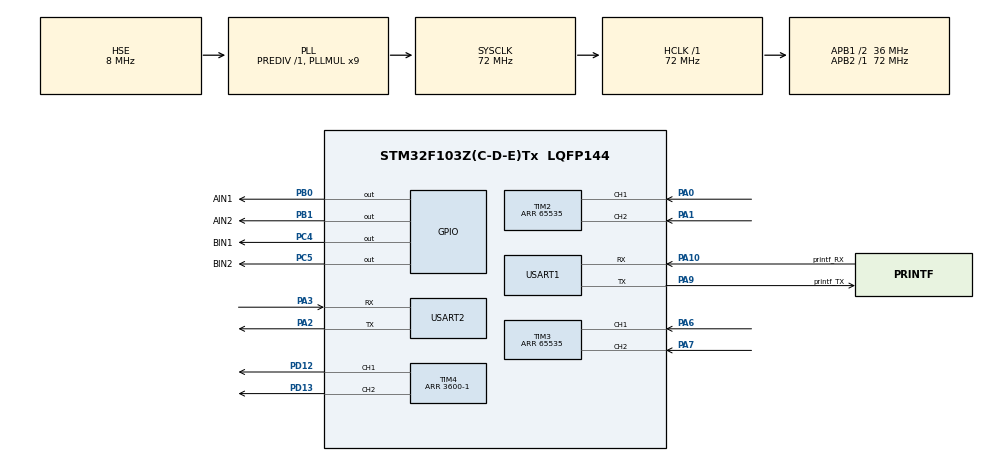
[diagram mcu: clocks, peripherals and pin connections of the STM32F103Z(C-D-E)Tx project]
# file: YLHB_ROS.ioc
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Mcu.Family=STM32F1
Mcu.Name=STM32F103Z(C-D-E)Tx
Mcu.Package=LQFP144
NVIC.PriorityGroup=NVIC_PRIORITYGROUP_4
NVIC.TIM1_UP_IRQn=true\:0\:0\:false\:false\:true\:true\:true\:true
NVIC.USART2_IRQn=true\:0\:0\:false\:false\:true\:true\:true\:true
OSC_IN.Mode=HSE-External-Oscillator
OSC_IN.Signal=RCC_OSC_IN
OSC_OUT.Mode=HSE-External-Oscillator
OSC_OUT.Signal=RCC_OSC_OUT
PA0-WKUP.GPIO_PuPd=GPIO_PULLUP
PA0-WKUP.Signal=S_TIM2_CH1_ETR
PA1.GPIO_PuPd=GPIO_PULLUP
PA1.Signal=S_TIM2_CH2
PA10.GPIO_Label=printf_RX
PA10.Mode=Asynchronous
PA10.Signal=USART1_RX
PA13.Mode=Serial_Wire
PA13.Signal=SYS_JTMS-SWDIO
PA14.Mode=Serial_Wire
PA14.Signal=SYS_JTCK-SWCLK
PA2.Mode=Asynchronous
PA2.Signal=USART2_TX
PA3.Mode=Asynchronous
PA3.Signal=USART2_RX
PA6.GPIO_PuPd=GPIO_PULLUP
PA6.Signal=S_TIM3_CH1
PA7.GPIO_PuPd=GPIO_PULLUP
PA7.Signal=S_TIM3_CH2
PA9.GPIO_Label=printf_TX
PA9.Mode=Asynchronous
PA9.Signal=USART1_TX
PB0.GPIO_Label=AIN1
PB0.GPIO_Speed=GPIO_SPEED_FREQ_HIGH
PB0.PinState=GPIO_PIN_SET
PB0.Signal=GPIO_Output
PB1.GPIO_Label=AIN2
PB1.GPIO_Speed=GPIO_SPEED_FREQ_HIGH
PB1.PinState=GPIO_PIN_SET
PB1.Signal=GPIO_Output
PC4.GPIO_Label=BIN1
PC4.GPIO_Speed=GPIO_SPEED_FREQ_HIGH
PC4.PinState=GPIO_PIN_SET
PC4.Signal=GPIO_Output
PC5.GPIO_Label=BIN2
PC5.GPIO_Speed=GPIO_SPEED_FREQ_HIGH
PC5.PinState=GPIO_PIN_SET
PC5.Signal=GPIO_Output
PD12.Signal=S_TIM4_CH1
PD13.Signal=S_TIM4_CH2
ProjectManager.HeapSize=0x200
ProjectManager.StackSize=0x400
ProjectManager.TargetToolchain=MDK-ARM V5.32
RCC.AHBFreq_Value=72000000
RCC.APB1CLKDivider=RCC_HCLK_DIV2
RCC.APB1Freq_Value=36000000
RCC.APB1TimFreq_Value=72000000
RCC.APB2Freq_Value=72000000
RCC.APB2TimFreq_Value=72000000
RCC.HCLKFreq_Value=72000000
RCC.PLLMUL=RCC_PLL_MUL9
RCC.PLLSourceVirtual=RCC_PLLSOURCE_HSE
RCC.SYSCLKFreq_VALUE=72000000
RCC.SYSCLKSource=RCC_SYSCLKSOURCE_PLLCLK
RCC.USBFreq_Value=72000000
SH.S_TIM2_CH1_ETR.0=TIM2_CH1,Encoder_Interface
SH.S_TIM2_CH2.0=TIM2_CH2,Encoder_Interface
SH.S_TIM3_CH1.0=TIM3_CH1,Encoder_Interface
SH.S_TIM3_CH2.0=TIM3_CH2,Encoder_Interface
SH.S_TIM4_CH1.0=TIM4_CH1,PWM Generation1 CH1
SH.S_TIM4_CH2.0=TIM4_CH2,PWM Generation2 CH2
TIM1.Period=1000-1
TIM1.Prescaler=72-1
TIM2.EncoderMode=TIM_ENCODERMODE_TI12
TIM2.Period=65535
TIM3.EncoderMode=TIM_ENCODERMODE_TI12
TIM3.Period=65535
TIM4.Channel-PWM\ Generation1\ CH1=TIM_CHANNEL_1
TIM4.Channel-PWM\ Generation2\ CH2=TIM_CHANNEL_2
TIM4.Period=3600-1
USART1.VirtualMode=VM_ASYNC
USART2.VirtualMode=VM_ASYNC
VP_TIM1_VS_ClockSourceINT.Mode=Internal
board=custom

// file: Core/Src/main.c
/* USER CODE BEGIN Header */
/**
  ******************************************************************************
  * @file           : main.c
  * @brief          : Main program body
  ******************************************************************************
  * @attention
  *
  * Copyright (c) 2026 STMicroelectronics.
  * All rights reserved.
  *
  * This software is licensed under terms that can be found in the LICENSE file
  * in the root directory of this software component.
  * If no LICENSE file comes with this software, it is provided AS-IS.
  *
  ******************************************************************************
  */
/* USER CODE END Header */
#include "main.h"
#include "tim.h"
#include "usart.h"
#include "gpio.h"

/* USER CODE BEGIN Includes */
#include "motor.h"
#include "bmq.h"
#include "stdio.h"
/* USER CODE END Includes */

/* USER CODE BEGIN PTD */
volatile float Speed_Left = 0;// 左电机当前速度（RPM、转/分钟）
volatile float Speed_Right = 0;// 右电机当前速度（RPM、转/分钟）
volatile float Target_Speed_Left = 0;  // 设定左电机目标速度（RPM、转/分钟）
volatile float Target_Speed_Right = 0; // 设定右电机目标速度（RPM、转/分钟）
volatile int PWM_Left = 0;// 左电机PWM输出值（占空比）
volatile int PWM_Right = 0;// 右电机PWM输出值（占空比）
/* USER CODE END PTD */

/* USER CODE BEGIN PD */
#define UART2_FRAME_LEN              7U // 串口帧长度
#define UART2_FRAME_HEAD1            0xAAU // 串口帧头1
#define UART2_FRAME_HEAD2            0x55U // 串口帧头2
#define WHEEL_DIAMETER_MM            54.0f // 轮子直径（mm）
#define WHEEL_CIRCUMFERENCE_MM       (WHEEL_DIAMETER_MM * 3.1415926f) // 轮子周长（mm）
#define LEFT_SPEED_SIGN              1.0f // 根据电机接线调整正负，确保正值为前进，负值为后退
#define RIGHT_SPEED_SIGN             1.0f // 根据电机接线调整正负，确保正值为前进，负值为后退
#define UART2_SEND_PERIOD_MS         15U // 串口发送周期（ms）
#define REVERSE_RELEASE_RPM          8.0f // 反向前判定已停稳的速度阈值（RPM）
#define REVERSE_FILTER_NEW_RATIO     0.7f // 反向过零时提高瞬时速度占比
#define NORMAL_FILTER_NEW_RATIO      0.3f // 正常状态下一阶滤波瞬时速度占比

/* USER CODE END PD */

/* USER CODE BEGIN PV */
static uint8_t uart2_rx_byte = 0;// 串口接收字节
static uint8_t uart2_rx_buf[UART2_FRAME_LEN] = {0};// 串口接收缓冲区
static uint8_t uart2_rx_index = 0;// 串口接收索引
volatile int16_t uart2_target_left_mm_s = 0;// 设定左电机目标速度（毫米/秒）
volatile int16_t uart2_target_right_mm_s = 0;// 设定右电机目标速度（毫米/秒）
volatile float uart2_target_left_rpm = 0;// 左轮目标转速（RPM），收到串口命令时预先换算好
volatile float uart2_target_right_rpm = 0;// 右轮目标转速（RPM），收到串口命令时预先换算好
volatile int16_t uart2_feedback_left_mm_s = 0;// 左电机反馈速度（毫米/秒）
volatile int16_t uart2_feedback_right_mm_s = 0;// 右电机反馈速度（毫米/秒）
volatile uint8_t uart2_send_flag = 0;// 串口发送标志位
volatile uint8_t left_reverse_brake_flag = 0;// 左轮反向前先刹停标志
volatile uint8_t right_reverse_brake_flag = 0;// 右轮反向前先刹停标志

/* USER CODE END PV */

void SystemClock_Config(void);
/* USER CODE BEGIN PFP */
static uint8_t UART2_CalcChecksum(const uint8_t *buf);// 计算校验和
static float MmpsToRpm(int16_t mm_s);// 毫米/秒转RPM
static int16_t RpmToMmps(float rpm);// RPM转毫米/秒
static float AbsFloat(float value);// 取绝对值

/* USER CODE END PFP */

/* USER CODE BEGIN 0 */
/* 计算前6字节累加和，低8位作为校验 */
static uint8_t UART2_CalcChecksum(const uint8_t *buf)
{
    uint16_t sum = 0;
    uint8_t i = 0;

    for (i = 0; i < (UART2_FRAME_LEN - 1U); i++)
    {
        sum += buf[i];
    }

    return (uint8_t)sum;
}

/* RDK 发来的是放大1000倍后的整数速度，本质就是 mm/s */
static float MmpsToRpm(int16_t mm_s)// 毫米/秒--->RPM
{
    return ((float)mm_s * 60.0f) / WHEEL_CIRCUMFERENCE_MM;
}

/* 把电机当前 RPM 换算成 mm/s，再按 short 回传给 RDK */
static int16_t RpmToMmps(float rpm)// RPM--->毫米/秒
{
    float mm_s = (rpm * WHEEL_CIRCUMFERENCE_MM) / 60.0f;

    if (mm_s > 32767.0f)
    {
        mm_s = 32767.0f;
    }
    else if (mm_s < -32768.0f)
    {
        mm_s = -32768.0f;
    }

    if (mm_s >= 0.0f)
    {
        return (int16_t)(mm_s + 0.5f);
    }

    return (int16_t)(mm_s - 0.5f);
}

static float AbsFloat(float value)
{
    if (value >= 0.0f)
    {
        return value;
    }

    return -value;
}

void HAL_UART_RxCpltCallback(UART_HandleTypeDef *huart)// 串口接收完成回调函数
{
    if (huart->Instance == USART2)
    {
        /* 按字节收 7 字节协议帧，逻辑尽量写直白一些 */
        if (uart2_rx_index == 0U)
        {
            if (uart2_rx_byte == UART2_FRAME_HEAD1)
            {
                uart2_rx_buf[0] = uart2_rx_byte;
                uart2_rx_index = 1U;
            }
        }
        else if (uart2_rx_index == 1U)
        {
            if (uart2_rx_byte == UART2_FRAME_HEAD2)
            {
                uart2_rx_buf[1] = uart2_rx_byte;
                uart2_rx_index = 2U;
            }
            else if (uart2_rx_byte == UART2_FRAME_HEAD1)
            {
                uart2_rx_buf[0] = uart2_rx_byte;
                uart2_rx_index = 1U;
            }
            else
            {
                uart2_rx_index = 0U;
            }
        }
        else
        {
            uart2_rx_buf[uart2_rx_index++] = uart2_rx_byte;

            if (uart2_rx_index >= UART2_FRAME_LEN)
            {
                uart2_rx_index = 0U;

                if (uart2_rx_buf[6] == UART2_CalcChecksum(uart2_rx_buf))
                {
                    int16_t left_mm_s = (int16_t)(((uint16_t)uart2_rx_buf[2] << 8) | uart2_rx_buf[3]);
                    int16_t right_mm_s = (int16_t)(((uint16_t)uart2_rx_buf[4] << 8) | uart2_rx_buf[5]);

                    /* 新命令和上一条命令方向相反时，先清空PID历史项，再走刹停后反向 */
                    if (((uart2_target_left_mm_s > 0) && (left_mm_s < 0)) || ((uart2_target_left_mm_s < 0) && (left_mm_s > 0)))
                    {
                        left_reverse_brake_flag = 1U;
                        PID_Reset_Left();
                    }

                    if (((uart2_target_right_mm_s > 0) && (right_mm_s < 0)) || ((uart2_target_right_mm_s < 0) && (right_mm_s > 0)))
                    {
                        right_reverse_brake_flag = 1U;
                        PID_Reset_Right();
                    }

                    uart2_target_left_mm_s = left_mm_s;
                    uart2_target_right_mm_s = right_mm_s;
                    uart2_target_left_rpm = LEFT_SPEED_SIGN * MmpsToRpm(left_mm_s);
                    uart2_target_right_rpm = RIGHT_SPEED_SIGN * MmpsToRpm(right_mm_s);
                }
            }
        }

        (void)HAL_UART_Receive_IT(&huart2, &uart2_rx_byte, 1U);
    }
}

void HAL_UART_ErrorCallback(UART_HandleTypeDef *huart)// 串口错误回调函数
{
    if (huart->Instance == USART2)
    {
        uart2_rx_index = 0U;// 接收帧索引重置
        (void)HAL_UART_Receive_IT(&huart2, &uart2_rx_byte, 1U);
    }
}

/* USER CODE END 0 */

int main(void)
{

  /* MCU Configuration--------------------------------------------------------*/

  /* Reset of all peripherals, Initializes the Flash interface and the Systick. */
  HAL_Init();

  /* Configure the system clock */
  SystemClock_Config();

  /* Initialize all configured peripherals */
  MX_GPIO_Init();
  MX_USART1_UART_Init();
  MX_TIM1_Init();
  MX_TIM2_Init();
  MX_TIM3_Init();
  MX_TIM4_Init();
  MX_USART2_UART_Init();
  /* USER CODE BEGIN 2 */
  HAL_UART_Receive_IT(&huart2, &uart2_rx_byte, 1U);// 开启接收中断
  Motor_Init();// 初始化电机

  /* USER CODE END 2 */

  /* Infinite loop */
  while (1)
  {

    /* USER CODE BEGIN 3 */
    //printf("%.2f,%.2f\n", Speed_Left, Speed_Right);
    /* 发送节拍由 TIM1 控制，负责发串口，避免在中断里阻塞 */
    if (uart2_send_flag != 0U)// 发送标志位
    {
        uint8_t tx_buf[UART2_FRAME_LEN];
        uint16_t left_mm_s = (uint16_t)uart2_feedback_left_mm_s;
        uint16_t right_mm_s = (uint16_t)uart2_feedback_right_mm_s;

        uart2_send_flag = 0U;// 发送标志位重置

        tx_buf[0] = UART2_FRAME_HEAD1;
        tx_buf[1] = UART2_FRAME_HEAD2;
        tx_buf[2] = (uint8_t)(left_mm_s >> 8);
        tx_buf[3] = (uint8_t)left_mm_s;
        tx_buf[4] = (uint8_t)(right_mm_s >> 8);
        tx_buf[5] = (uint8_t)right_mm_s;
        tx_buf[6] = UART2_CalcChecksum(tx_buf);

        (void)HAL_UART_Transmit(&huart2, tx_buf, UART2_FRAME_LEN, 5U);
    }
  }
  /* USER CODE END 3 */
}

void SystemClock_Config(void)
{
  RCC_OscInitTypeDef RCC_OscInitStruct = {0};
  RCC_ClkInitTypeDef RCC_ClkInitStruct = {0};

  /** Initializes the RCC Oscillators according to the specified parameters
  * in the RCC_OscInitTypeDef structure.
  */
  RCC_OscInitStruct.OscillatorType = RCC_OSCILLATORTYPE_HSE;
  RCC_OscInitStruct.HSEState = RCC_HSE_ON;
  RCC_OscInitStruct.HSEPredivValue = RCC_HSE_PREDIV_DIV1;
  RCC_OscInitStruct.HSIState = RCC_HSI_ON;
  RCC_OscInitStruct.PLL.PLLState = RCC_PLL_ON;
  RCC_OscInitStruct.PLL.PLLSource = RCC_PLLSOURCE_HSE;
  RCC_OscInitStruct.PLL.PLLMUL = RCC_PLL_MUL9;
  if (HAL_RCC_OscConfig(&RCC_OscInitStruct) != HAL_OK)
  {
    Error_Handler();
  }

  /** Initializes the CPU, AHB and APB buses clocks
  */
  RCC_ClkInitStruct.ClockType = RCC_CLOCKTYPE_HCLK|RCC_CLOCKTYPE_SYSCLK
                              |RCC_CLOCKTYPE_PCLK1|RCC_CLOCKTYPE_PCLK2;
  RCC_ClkInitStruct.SYSCLKSource = RCC_SYSCLKSOURCE_PLLCLK;
  RCC_ClkInitStruct.AHBCLKDivider = RCC_SYSCLK_DIV1;
  RCC_ClkInitStruct.APB1CLKDivider = RCC_HCLK_DIV2;
  RCC_ClkInitStruct.APB2CLKDivider = RCC_HCLK_DIV1;

  if (HAL_RCC_ClockConfig(&RCC_ClkInitStruct, FLASH_LATENCY_2) != HAL_OK)
  {
    Error_Handler();
  }
}

/* USER CODE BEGIN 4 */

// 转换系数 = 60 / (122880 * 0.01) = 0.048828125
const float PULSE_TO_RPM = 0.048828125f;

void HAL_TIM_PeriodElapsedCallback(TIM_HandleTypeDef *htim)
{
    if (htim->Instance == TIM1)
    {
        static uint8_t T1 = 0;
        static uint8_t T2 = 0;
        // static long long T3 = 0;// 用于速度变化检测
        /* TIM1 是 1ms 中断，这里累加出 10ms 控制节拍 */
        T1++;
        if (T1 >= 10U)
        {
            T1 = 0U;
            int encoder_left = Read_Encoder(2);
            int encoder_right = Read_Encoder(3);

            /* 编码器脉冲换算成当前 RPM */
            float instant_speed_left = encoder_left * PULSE_TO_RPM;
            float instant_speed_right = encoder_right * PULSE_TO_RPM;

            /* 正常情况保持原来的滤波；只有反向过零时才临时提高瞬时速度占比 */
            if (left_reverse_brake_flag != 0U)
            {
                Speed_Left = REVERSE_FILTER_NEW_RATIO * instant_speed_left + (1.0f - REVERSE_FILTER_NEW_RATIO) * Speed_Left;
            }
            else
            {
                Speed_Left = NORMAL_FILTER_NEW_RATIO * instant_speed_left + (1.0f - NORMAL_FILTER_NEW_RATIO) * Speed_Left;
            }

            if (right_reverse_brake_flag != 0U)
            {
                Speed_Right = REVERSE_FILTER_NEW_RATIO * instant_speed_right + (1.0f - REVERSE_FILTER_NEW_RATIO) * Speed_Right;
            }
            else
            {
                Speed_Right = NORMAL_FILTER_NEW_RATIO * instant_speed_right + (1.0f - NORMAL_FILTER_NEW_RATIO) * Speed_Right;
            }

            /* 反向时先给0目标，等轮子基本停住后再放行到新方向 */
            if (left_reverse_brake_flag != 0U)
            {
                Target_Speed_Left = 0.0f;
                if (AbsFloat(Speed_Left) <= REVERSE_RELEASE_RPM)
                {
                    left_reverse_brake_flag = 0U;
                    PID_Reset_Left();
                    Target_Speed_Left = uart2_target_left_rpm;
                }
            }
            else
            {
                Target_Speed_Left = uart2_target_left_rpm;
            }

            if (right_reverse_brake_flag != 0U)
            {
                Target_Speed_Right = 0.0f;
                if (AbsFloat(Speed_Right) <= REVERSE_RELEASE_RPM)
                {
                    right_reverse_brake_flag = 0U;
                    PID_Reset_Right();
                    Target_Speed_Right = uart2_target_right_rpm;
                }
            }
            else
            {
                Target_Speed_Right = uart2_target_right_rpm;
            }

            /* PID 输入单位保持为 RPM */
            PWM_Left = PID_Calc_Left(Target_Speed_Left, Speed_Left);
            PWM_Right = PID_Calc_Right(Target_Speed_Right, Speed_Right);

            /* 输出 PWM */
            Set_Pwm(PWM_Left, PWM_Right);
        }

        /* T2 每 15ms 准备一次串口反馈数据 */
        T2++;
        if (T2 >= UART2_SEND_PERIOD_MS)
        {
            T2 = 0U;
            uart2_feedback_left_mm_s = RpmToMmps(Speed_Left * LEFT_SPEED_SIGN);
            uart2_feedback_right_mm_s = RpmToMmps(Speed_Right * RIGHT_SPEED_SIGN);
            uart2_send_flag = 1U;
        }

        /* T3用于速度变化检测 */
        // T3++;
        // if (T3 == 1000)
        // {
        //     uart2_target_left_rpm = 50.0f;
        //     uart2_target_right_rpm = 50.0f;
        // }
        // else if(T3 == 5000)
        // {
        //     uart2_target_left_rpm = -50.0f;
        //     uart2_target_right_rpm = -50.0f;
        // }
        // else if(T3 == 10000)
        // {
        //     uart2_target_left_rpm = 0.0f;
        //     uart2_target_right_rpm = 0.0f;
        // }
        // else if(T3 == 15000)
        // {
        //     uart2_target_left_rpm = -50.0f;
        //     uart2_target_right_rpm = 50.0f;
        // }
        // else if(T3 == 20000)
        // {
        //     uart2_target_left_rpm = 0.0f;
        //     uart2_target_right_rpm = 0.0f;
        // }

    }
}

/* USER CODE END 4 */

void Error_Handler(void)
{
  __disable_irq();
  while (1)
  {
  }
}
